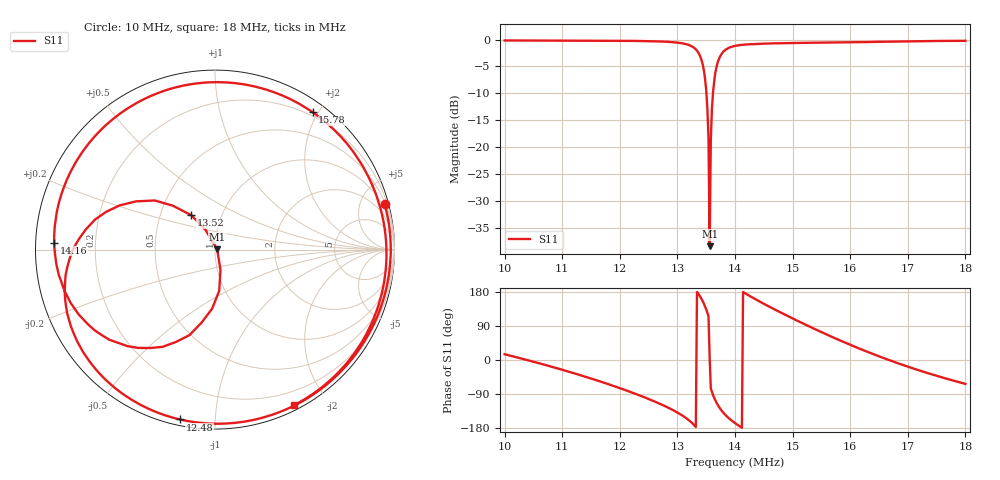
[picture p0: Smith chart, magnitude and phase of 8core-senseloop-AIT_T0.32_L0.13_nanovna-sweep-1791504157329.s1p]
! NanoVNA Web complex sweep
! Processing: original sample grid, no browser smoothing
# Hz S RI R 50
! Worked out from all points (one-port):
!   401 points, 10 MHz to 18 MHz, reference 50 ohm
!   lowest |S11| = -38.3 dB at 13.56 MHz (marker M1), VSWR 1.02, Z = 51.2 + j0.143 ohm
!   |S11| at or under -10 dB: 13.5 MHz to 13.62 MHz (114 kHz wide, 0.841 % of centre)
!   S11 on the Smith chart (normalised r, x): 10 MHz: 0.59, +7.46; 12.48 MHz: 0.03, -0.81; 13.52 MHz: 0.72, +0.29; 14.16 MHz: 0.05, +0.02; 15.78 MHz: 0.15, +1.93; 18 MHz: 0.05, -1.63
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1e7  0.9452 0.2565
1.1e7  0.8808 -0.4246
1.15e7  0.6429 -0.7344
1.2e7  0.2652 -0.9364
1.248e7  -0.1947 -0.9463
1.3e7  -0.7021 -0.6187
1.326e7  -0.8357 -0.193
1.34e7  -0.6683 0.1675
1.348e7  -0.3356 0.2738
1.35e7  -0.2351 0.2446
1.352e7  -0.1312 0.191
1.356e7  0.0121 0.00139
1.36e7  0.0235 -0.2297
1.362e7  -0.016 -0.3291
1.364e7  -0.0754 -0.4076
1.37e7  -0.2918 -0.5417
1.384e7  -0.6701 -0.4501
1.4e7  -0.8481 -0.2041
1.416e7  -0.8953 0.0385
1.454e7  -0.7526 0.5234
1.5e7  -0.3124 0.8743
1.538e7  0.1296 0.925
1.578e7  0.5445 0.765
1.6e7  0.7203 0.6071
1.648e7  0.9341 0.1789
1.7e7  0.9169 -0.2907
1.752e7  0.7136 -0.6558
1.8e7  0.4411 -0.8669
